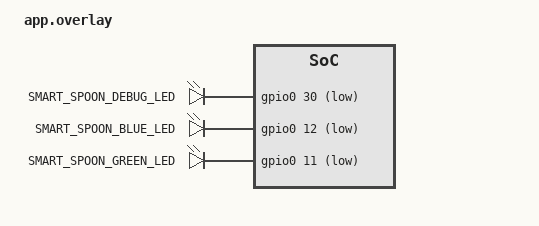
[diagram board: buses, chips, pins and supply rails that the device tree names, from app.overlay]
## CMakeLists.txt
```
cmake_minimum_required(VERSION 3.20.0)

set(DTC_OVERLAY_FILE "${CMAKE_CURRENT_SOURCE_DIR}/app.overlay")

find_package(Zephyr REQUIRED HINTS $ENV{ZEPHYR_BASE})
project(BLE_Test)

target_sources(app PRIVATE src/main.c)
```

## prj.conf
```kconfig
CONFIG_BT=y
CONFIG_BT_PERIPHERAL=y
CONFIG_BT_DEVICE_NAME="SmartSpoon"
CONFIG_BT_MAX_CONN=1
CONFIG_GPIO=y
```

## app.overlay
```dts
/* Smart Spoon Custom PCB Overlay */

#include <zephyr/dt-bindings/gpio/gpio.h>

/ {
    leds {
        compatible = "gpio-leds";

        led0: led_0 {
            gpios = <&gpio0 30 GPIO_ACTIVE_LOW>;
            label = "SMART_SPOON_DEBUG_LED";
        };

        led1: led_1 {
            gpios = <&gpio0 12 GPIO_ACTIVE_LOW>;
            label = "SMART_SPOON_BLUE_LED";
        };

        led_green: led_green {
            gpios = <&gpio0 11 GPIO_ACTIVE_LOW>;
            label = "SMART_SPOON_GREEN_LED";
        };
    };

    aliases {
        led0 = &led0;
        led1 = &led1;
        led-green = &led_green;
    };
};
```

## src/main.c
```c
#include <zephyr/kernel.h>
#include <zephyr/device.h>
#include <zephyr/drivers/gpio.h>
#include <zephyr/sys/printk.h>
#include <zephyr/bluetooth/bluetooth.h>
#include <zephyr/bluetooth/conn.h>

#define DEBUG_LED_NODE  DT_ALIAS(led1)
#define GREEN_LED_NODE  DT_ALIAS(led_green)

static const struct gpio_dt_spec debug_led =
    GPIO_DT_SPEC_GET(DEBUG_LED_NODE, gpios);

static const struct gpio_dt_spec green_led =
    GPIO_DT_SPEC_GET(GREEN_LED_NODE, gpios);

static const struct bt_data adv_data[] = {
    BT_DATA_BYTES(BT_DATA_FLAGS,
                  BT_LE_AD_GENERAL | BT_LE_AD_NO_BREDR),
};

static const struct bt_data scan_data[] = {
    BT_DATA(BT_DATA_NAME_COMPLETE,
            CONFIG_BT_DEVICE_NAME,
            sizeof(CONFIG_BT_DEVICE_NAME) - 1),
};

static int advertising_start(void)
{
    int err = bt_le_adv_start(BT_LE_ADV_CONN_FAST_1,
                              adv_data, ARRAY_SIZE(adv_data),
                              scan_data, ARRAY_SIZE(scan_data));

    if (err != 0) {
        printk("BLE advertising failed: %d\n", err);
        return err;
    }

    printk("BLE advertising: %s\n", CONFIG_BT_DEVICE_NAME);
    return 0;
}

static void connected(struct bt_conn *conn, uint8_t err)
{
    if (err != 0) {
        printk("BLE connection failed: %u\n", err);
        return;
    }

    gpio_pin_set_dt(&green_led, 1);
    printk("BLE connected - Green LED ON\n");
}

static void disconnected(struct bt_conn *conn, uint8_t reason)
{
    gpio_pin_set_dt(&green_led, 0);
    printk("BLE disconnected: 0x%02x - Green LED OFF\n", reason);
}

static void recycled(void)
{
    (void)advertising_start();
}

BT_CONN_CB_DEFINE(conn_callbacks) = {
    .connected = connected,
    .disconnected = disconnected,
    .recycled = recycled,
};

int main(void)
{
    int err;

    if (!gpio_is_ready_dt(&debug_led) ||
        !gpio_is_ready_dt(&green_led)) {
        printk("LED GPIO is not ready\n");
        return 0;
    }

    err = gpio_pin_configure_dt(&debug_led, GPIO_OUTPUT_INACTIVE);
    if (err != 0) {
        printk("Debug LED setup failed: %d\n", err);
        return 0;
    }

    err = gpio_pin_configure_dt(&green_led, GPIO_OUTPUT_INACTIVE);
    if (err != 0) {
        printk("Green LED setup failed: %d\n", err);
        return 0;
    }

    err = bt_enable(NULL);
    if (err != 0) {
        printk("Bluetooth init failed: %d\n", err);
    } else {
        printk("Bluetooth initialized\n");
        (void)advertising_start();
    }

    /* BLE 연결 여부와 관계없이 0.5초마다 led1을 토글한다. */
    while (true) {
        err = gpio_pin_toggle_dt(&debug_led);
        if (err != 0) {
            printk("Debug LED toggle failed: %d\n", err);
        }

        k_sleep(K_MSEC(500));
    }
}
```
